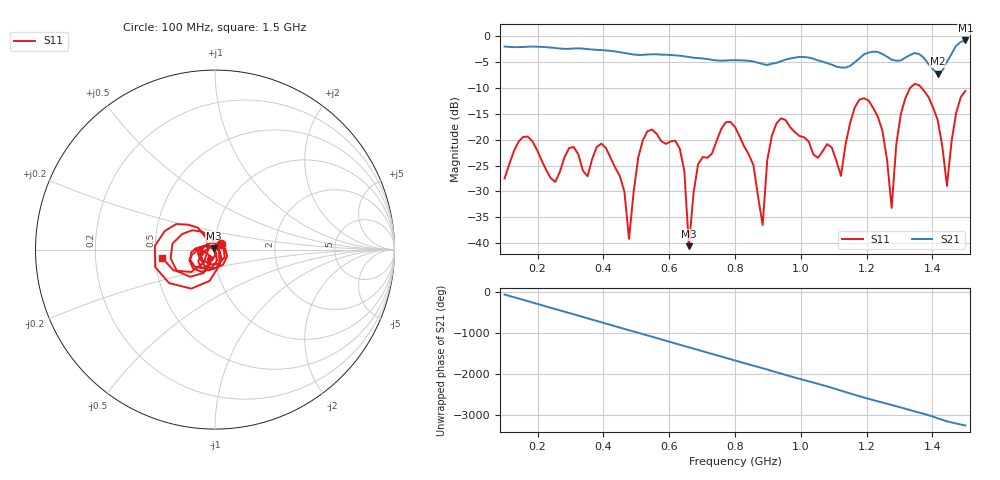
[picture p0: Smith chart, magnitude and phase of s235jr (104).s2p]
! NanoVNA-App
! Date: 2025-09-25 15:04:58
! Start: 100MHz Stop: 1,5GHz Points: 101
! S-Parameter data: F S11 S21 S12 S22
# Hz S RI R 50
!  Frequency  S11_Real  S11_Imag  S21_Real  S21_Imag  S12_Real  S12_Imag  S22_Real  S22_Imag
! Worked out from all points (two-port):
!   101 points, 100 MHz to 1.5 GHz, reference 50 ohm
!   highest |S21| = -0.79 dB at 1.5 GHz (marker M1); lowest = -7.2 dB at 1.416 GHz (marker M2)
!   |S21| within 3 dB of the highest: start of sweep to 637.6 MHz; 1.186 GHz to 1.258 GHz (71.56 MHz wide, 5.86 % of centre) (the widest 2 of 4)
!   lowest |S11| = -40.6 dB at 660 MHz (marker M3), VSWR 1.02, Z = 49.3 + j0.628 ohm
!   |S11| at or under -10 dB: start of sweep to 1.332 GHz; 1.367 GHz to end of sweep
!   S12 and S22 are empty: the file has one direction only
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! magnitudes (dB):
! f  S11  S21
! 100 MHz  -27.5  -2.0
! 170 MHz  -19.4  -2.0
! 338 MHz  -26.0  -2.4
! 408 MHz  -21.6  -2.7
! 478 MHz  -39.2  -3.4
! 520 MHz  -20.1  -3.6
! 576 MHz  -20.3  -3.5
! 632 MHz  -21.7  -3.7
! 660 MHz  -40.6  -4.0
! 688 MHz  -24.7  -4.2
! 800 MHz  -17.5  -4.6
! 884 MHz  -36.5  -5.4
! 926 MHz  -16.8  -5.1
! 1.038 GHz  -22.8  -4.3
! 1.122 GHz  -27.0  -6.0
! 1.206 GHz  -12.4  -3.1
! 1.248 GHz  -18.3  -3.4
! 1.276 GHz  -33.2  -4.5
! 1.332 GHz  -10.0  -3.6
! 1.416 GHz  -16.2  -7.2
! 1.444 GHz  -28.9  -4.9
! 1.5 GHz  -10.6  -0.8
